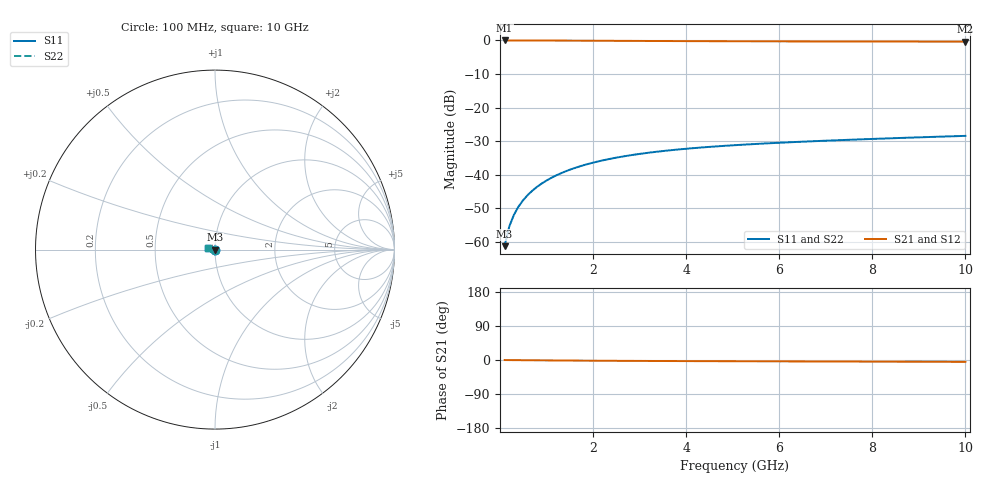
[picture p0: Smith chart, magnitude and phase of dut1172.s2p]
! Touchstone file exported from HFSS 2024.1.0
!  File:  C:/UserFiles/LocalFiles/RDL_TSV_Batchsim/temp_TSV1_1172_1780073879.aedt
!  Generated:  01:03:57 AM May 30, 2026
!  Design:  TSV1
!  Project:  temp_TSV1_1172_1780073879
!  Setup:  Setup1
!  Solution:  Sweep
! Variables:
!  dtsv = 7.71um
!  hbump = 3um
!  htsv = 74.77um
!  lrdl = 252.1521522um
!  p = 40
!  p1 = 48.78um
!  t = 500um
!  trdl = 3um
!  wrdl = 24.89489489um
# GHz S MA R 50.000000
! Terminal data exported
! Port[1] = TSV22_T1
! Port[2] = TSV22_T2
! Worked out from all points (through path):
!   100 points, 100 MHz to 10 GHz, reference 50 ohm
!   highest |S21| = 0.00 dB at 100 MHz (marker M1); lowest = -0.4 dB at 10 GHz (marker M2)
!   lowest |S11| = -61.2 dB at 100 MHz (marker M3), VSWR 1.00, Z = 50 - j0.0846 ohm
!   |S11| at or under -10 dB: start of sweep to end of sweep
!   |S22| runs from -61.2 to -28.4 dB; largest |S21 - S12| = 5.6e-15
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0.1  0.0008699 -76.4  0.9997 -0.1  0.9997 -0.1  0.0008699 -76.4
! Gamma 0 0 0 0
! Port Impedance 50 0 50 0
0.2  0.001707 -85.8  0.9996 -0.2  0.9996 -0.2  0.001707 -85.8
0.3  0.002548 -90.4  0.9995 -0.3  0.9995 -0.3  0.002548 -90.4
0.4  0.003386 -93.7  0.9993 -0.4  0.9993 -0.4  0.003386 -93.7
0.5  0.004219 -96.4  0.999 -0.5  0.999 -0.5  0.004219 -96.4
0.6  0.005044 -98.8  0.9987 -0.6  0.9987 -0.6  0.005044 -98.8
0.7  0.00586 -101.1  0.9983 -0.7  0.9983 -0.7  0.00586 -101.1
0.8  0.006665 -103.2  0.9979 -0.8  0.9979 -0.8  0.006665 -103.2
0.9  0.007459 -105.3  0.9975 -0.9  0.9975 -0.9  0.007459 -105.3
1.1  0.009008 -109.3  0.9965 -1.1  0.9965 -1.1  0.009008 -109.3
1.4  0.01122 -115.0  0.9947 -1.4  0.9947 -1.4  0.01122 -115.0
1.6  0.01261 -118.5  0.9934 -1.5  0.9934 -1.5  0.01261 -118.5
1.8  0.01394 -122.0  0.992 -1.7  0.992 -1.7  0.01394 -122.0
2.1  0.0158 -126.9  0.9899 -1.9  0.9899 -1.9  0.0158 -126.9
2.5  0.01805 -133.1  0.987 -2.2  0.987 -2.2  0.01805 -133.1
2.9  0.02004 -138.8  0.9842 -2.4  0.9842 -2.4  0.02004 -138.8
3.4  0.02223 -145.4  0.9809 -2.6  0.9809 -2.6  0.02223 -145.4
4.2  0.02514 -154.7  0.9763 -3.0  0.9763 -3.0  0.02514 -154.7
5.1  0.02781 -163.7  0.9721 -3.3  0.9721 -3.3  0.02781 -163.7
6.7  0.03161 -176.8  0.9667 -3.8  0.9667 -3.8  0.03161 -176.8
8.4  0.03504 171.9  0.9629 -4.4  0.9629 -4.4  0.03504 171.9
10  0.03805 163.2  0.9604 -4.9  0.9604 -4.9  0.03805 163.2
